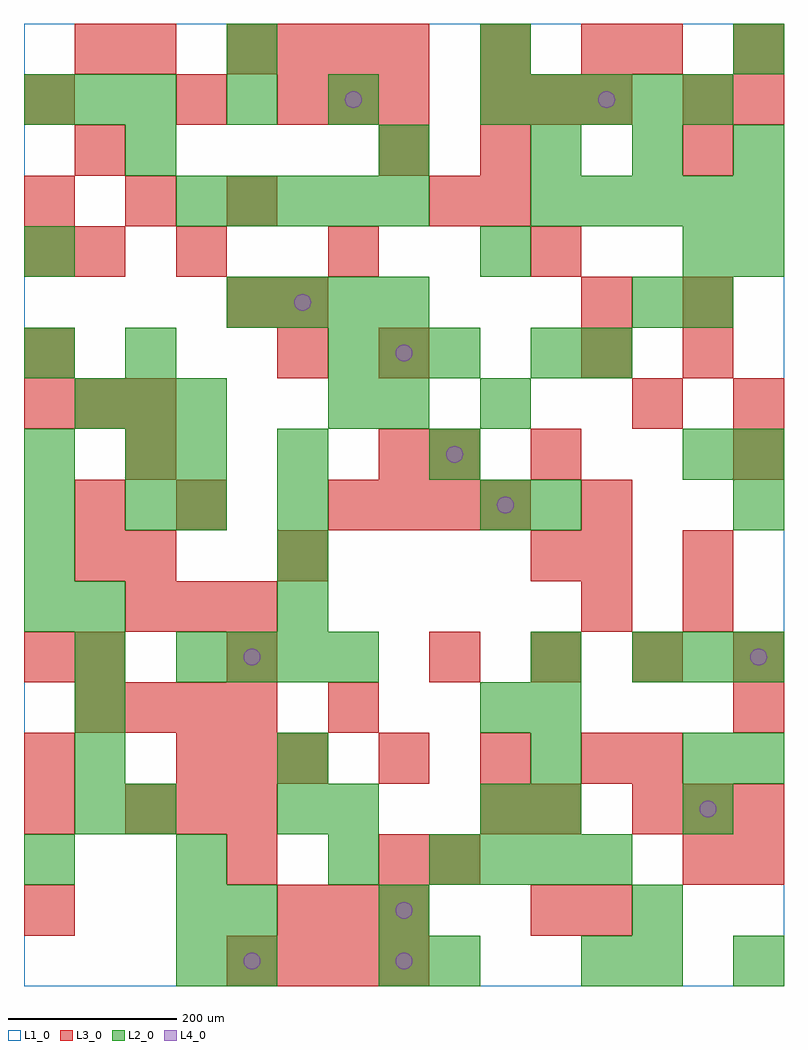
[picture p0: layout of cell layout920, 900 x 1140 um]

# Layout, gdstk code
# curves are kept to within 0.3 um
import gdstk
lib = gdstk.Library(unit=1e-6, precision=1e-09)
def R(c, l, rs):  # rectangles x0, y0, x1, y1
    for r in rs: c.add(gdstk.rectangle(r[:2], r[2:], *l))
def A(c, l, x, y, w, h, nx, ny, dx, dy):  # array of equal rectangles
    R(c, l, [(x+i*dx, y+j*dy, x+i*dx+w, y+j*dy+h) for i in range(nx) for j in range(ny)])
def P(c, l, *ps):  # polygons
    for p in ps: c.add(gdstk.Polygon(p, *l))
L1_0 = (1, 0)
L2_0 = (2, 0)
L3_0 = (3, 0)
L4_0 = (4, 0)

layout920 = lib.new_cell('layout920')
R(layout920, L1_0, [(0,0,900,1140)])
A(layout920, L2_0, 0, 120, 60, 60, 3, 1, 180, 0)
A(layout920, L2_0, 480, 120, 60, 60, 4, 1, 60, 0)
A(layout920, L2_0, 60, 180, 60, 60, 1, 5, 0, 60)
A(layout920, L2_0, 600, 180, 60, 60, 1, 4, 0, 60)
A(layout920, L2_0, 180, 360, 60, 60, 4, 1, 60, 0)
A(layout920, L2_0, 720, 360, 60, 60, 3, 1, 60, 0)
A(layout920, L2_0, 0, 420, 60, 60, 1, 4, 0, 60)
A(layout920, L2_0, 300, 420, 60, 60, 1, 4, 0, 60)
A(layout920, L2_0, 60, 660, 60, 60, 3, 1, 60, 0)
A(layout920, L2_0, 360, 720, 60, 60, 3, 1, 60, 0)
A(layout920, L2_0, 240, 780, 60, 60, 4, 1, 60, 0)
A(layout920, L2_0, 180, 900, 60, 60, 5, 1, 60, 0)
A(layout920, L2_0, 600, 900, 60, 60, 5, 1, 60, 0)
A(layout920, L2_0, 600, 960, 60, 60, 3, 1, 120, 0)
A(layout920, L2_0, 0, 1020, 60, 60, 3, 1, 60, 0)
A(layout920, L2_0, 540, 1020, 60, 60, 5, 1, 60, 0)
A(layout920, L2_0, 240, 1080, 60, 60, 3, 1, 300, 0)
R(layout920, L2_0, [(180,0,240,60), (240,0,300,60), (420,0,480,60), (480,0,540,60), (660,0,720,60), (720,0,780,60), (840,0,900,60), (180,60,240,120), (240,60,300,120), (420,60,480,120), (720,60,780,120), (120,180,180,240), (300,180,360,240), (360,180,420,240), (540,180,600,240), (780,180,840,240), (300,240,360,300), (780,240,840,300), (840,240,900,300), (540,300,600,360), (120,540,180,600), (180,540,240,600), (540,540,600,600), (600,540,660,600), (840,540,900,600), (120,600,180,660), (180,600,240,660), (480,600,540,660), (780,600,840,660), (840,600,900,660), (360,660,420,720), (420,660,480,720), (540,660,600,720), (0,720,60,780), (120,720,180,780), (600,720,660,780), (660,720,720,780), (720,780,780,840), (780,780,840,840), (0,840,60,900), (540,840,600,900), (780,840,840,900), (840,840,900,900), (120,960,180,1020), (420,960,480,1020), (240,1020,300,1080), (360,1020,420,1080)])
A(layout920, L3_0, 240, 0, 60, 60, 4, 2, 60, 1080)
A(layout920, L3_0, 300, 60, 60, 60, 3, 2, 60, 960)
A(layout920, L3_0, 120, 180, 60, 60, 3, 2, 60, 240)
A(layout920, L3_0, 720, 180, 60, 60, 3, 1, 60, 0)
A(layout920, L3_0, 180, 240, 60, 60, 3, 1, 60, 0)
A(layout920, L3_0, 420, 240, 60, 60, 3, 1, 120, 0)
A(layout920, L3_0, 720, 240, 60, 60, 1, 3, 0, 420)
A(layout920, L3_0, 60, 300, 60, 60, 4, 1, 60, 0)
A(layout920, L3_0, 480, 360, 60, 60, 4, 1, 120, 0)
A(layout920, L3_0, 660, 420, 60, 60, 1, 3, 0, 60)
A(layout920, L3_0, 360, 540, 60, 60, 4, 1, 60, 0)
A(layout920, L3_0, 0, 660, 60, 60, 3, 1, 60, 0)
A(layout920, L3_0, 60, 840, 60, 60, 1, 3, 0, 120)
A(layout920, L3_0, 0, 900, 60, 60, 3, 1, 120, 0)
A(layout920, L3_0, 540, 1020, 60, 60, 3, 1, 60, 0)
R(layout920, L3_0, [(0,60,60,120), (600,60,660,120), (660,60,720,120), (240,120,300,180), (420,120,480,180), (480,120,540,180), (780,120,840,180), (840,120,900,180), (0,180,60,240), (540,180,600,240), (600,180,660,240), (0,240,60,300), (360,300,420,360), (840,300,900,360), (0,360,60,420), (60,360,120,420), (240,360,300,420), (780,420,840,480), (60,480,120,540), (120,480,180,540), (300,480,360,540), (600,480,660,540), (780,480,840,540), (60,540,120,600), (180,540,240,600), (120,600,180,660), (420,600,480,660), (480,600,540,660), (600,600,660,660), (840,600,900,660), (840,660,900,720), (0,720,60,780), (300,720,360,780), (420,720,480,780), (660,720,720,780), (780,720,840,780), (240,780,300,840), (300,780,360,840), (660,780,720,840), (780,780,840,840), (0,840,60,900), (180,840,240,900), (360,840,420,900), (600,840,660,900), (480,900,540,960), (540,900,600,960), (420,960,480,1020), (540,960,600,1020), (780,960,840,1020), (0,1020,60,1080), (180,1020,240,1080), (780,1020,840,1080), (840,1020,900,1080), (120,1080,180,1140), (540,1080,600,1140), (660,1080,720,1140), (840,1080,900,1140)])
P(layout920, L4_0, [(280,30),(279.239,33.827),(277.071,37.071),(273.827,39.239),(270,40),(266.173,39.239),(262.929,37.071),(260.761,33.827),(260,30),(260.761,26.173),(262.929,22.929),(266.173,20.761),(270,20),(273.827,20.761),(277.071,22.929),(279.239,26.173)],
  [(280,390),(279.239,393.827),(277.071,397.071),(273.827,399.239),(270,400),(266.173,399.239),(262.929,397.071),(260.761,393.827),(260,390),(260.761,386.173),(262.929,382.929),(266.173,380.761),(270,380),(273.827,380.761),(277.071,382.929),(279.239,386.173)],
  [(340,810),(339.239,813.827),(337.071,817.071),(333.827,819.239),(330,820),(326.173,819.239),(322.929,817.071),(320.761,813.827),(320,810),(320.761,806.173),(322.929,802.929),(326.173,800.761),(330,800),(333.827,800.761),(337.071,802.929),(339.239,806.173)],
  [(400,1050),(399.239,1053.827),(397.071,1057.071),(393.827,1059.239),(390,1060),(386.173,1059.239),(382.929,1057.071),(380.761,1053.827),(380,1050),(380.761,1046.173),(382.929,1042.929),(386.173,1040.761),(390,1040),(393.827,1040.761),(397.071,1042.929),(399.239,1046.173)],
  [(460,30),(459.239,33.827),(457.071,37.071),(453.827,39.239),(450,40),(446.173,39.239),(442.929,37.071),(440.761,33.827),(440,30),(440.761,26.173),(442.929,22.929),(446.173,20.761),(450,20),(453.827,20.761),(457.071,22.929),(459.239,26.173)],
  [(460,90),(459.239,93.827),(457.071,97.071),(453.827,99.239),(450,100),(446.173,99.239),(442.929,97.071),(440.761,93.827),(440,90),(440.761,86.173),(442.929,82.929),(446.173,80.761),(450,80),(453.827,80.761),(457.071,82.929),(459.239,86.173)],
  [(460,750),(459.239,753.827),(457.071,757.071),(453.827,759.239),(450,760),(446.173,759.239),(442.929,757.071),(440.761,753.827),(440,750),(440.761,746.173),(442.929,742.929),(446.173,740.761),(450,740),(453.827,740.761),(457.071,742.929),(459.239,746.173)],
  [(520,630),(519.239,633.827),(517.071,637.071),(513.827,639.239),(510,640),(506.173,639.239),(502.929,637.071),(500.761,633.827),(500,630),(500.761,626.173),(502.929,622.929),(506.173,620.761),(510,620),(513.827,620.761),(517.071,622.929),(519.239,626.173)],
  [(580,570),(579.239,573.827),(577.071,577.071),(573.827,579.239),(570,580),(566.173,579.239),(562.929,577.071),(560.761,573.827),(560,570),(560.761,566.173),(562.929,562.929),(566.173,560.761),(570,560),(573.827,560.761),(577.071,562.929),(579.239,566.173)],
  [(700,1050),(699.239,1053.827),(697.071,1057.071),(693.827,1059.239),(690,1060),(686.173,1059.239),(682.929,1057.071),(680.761,1053.827),(680,1050),(680.761,1046.173),(682.929,1042.929),(686.173,1040.761),(690,1040),(693.827,1040.761),(697.071,1042.929),(699.239,1046.173)],
  [(820,210),(819.239,213.827),(817.071,217.071),(813.827,219.239),(810,220),(806.173,219.239),(802.929,217.071),(800.761,213.827),(800,210),(800.761,206.173),(802.929,202.929),(806.173,200.761),(810,200),(813.827,200.761),(817.071,202.929),(819.239,206.173)],
  [(880,390),(879.239,393.827),(877.071,397.071),(873.827,399.239),(870,400),(866.173,399.239),(862.929,397.071),(860.761,393.827),(860,390),(860.761,386.173),(862.929,382.929),(866.173,380.761),(870,380),(873.827,380.761),(877.071,382.929),(879.239,386.173)])

lib.write_gds('layout920.gds')
